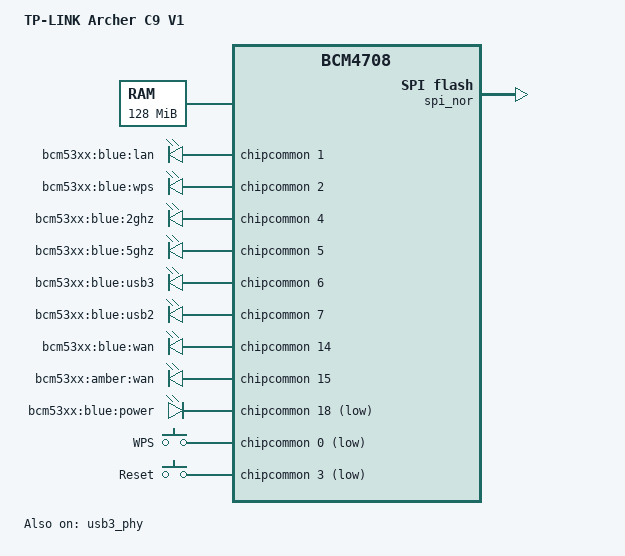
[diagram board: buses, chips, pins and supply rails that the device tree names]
// SPDX-License-Identifier: GPL-2.0-or-later OR MIT
/*
 * Copyright (C) 2016 Rafał Miłecki <rafal@milecki.pl>
 */

/dts-v1/;

#include "bcm4709.dtsi"

/ {
	compatible = "tplink,archer-c9-v1", "brcm,bcm4709", "brcm,bcm4708";
	model = "TP-LINK Archer C9 V1";

	chosen {
		bootargs = "console=ttyS0,115200 earlycon";
	};

	memory@0 {
		device_type = "memory";
		reg = <0x00000000 0x08000000>;
	};

	leds {
		compatible = "gpio-leds";

		lan {
			label = "bcm53xx:blue:lan";
			gpios = <&chipcommon 1 GPIO_ACTIVE_HIGH>;
		};

		wps {
			label = "bcm53xx:blue:wps";
			gpios = <&chipcommon 2 GPIO_ACTIVE_HIGH>;
		};

		2ghz {
			label = "bcm53xx:blue:2ghz";
			gpios = <&chipcommon 4 GPIO_ACTIVE_HIGH>;
		};

		5ghz {
			label = "bcm53xx:blue:5ghz";
			gpios = <&chipcommon 5 GPIO_ACTIVE_HIGH>;
		};

		usb3 {
			label = "bcm53xx:blue:usb3";
			gpios = <&chipcommon 6 GPIO_ACTIVE_HIGH>;
			trigger-sources = <&ohci_port1>, <&ehci_port1>,
					  <&xhci_port1>;
			linux,default-trigger = "usbport";
		};

		usb2 {
			label = "bcm53xx:blue:usb2";
			gpios = <&chipcommon 7 GPIO_ACTIVE_HIGH>;
			trigger-sources = <&ohci_port2>, <&ehci_port2>;
			linux,default-trigger = "usbport";
		};

		wan-blue {
			label = "bcm53xx:blue:wan";
			gpios = <&chipcommon 14 GPIO_ACTIVE_HIGH>;
		};

		wan-amber {
			label = "bcm53xx:amber:wan";
			gpios = <&chipcommon 15 GPIO_ACTIVE_HIGH>;
		};

		power {
			label = "bcm53xx:blue:power";
			gpios = <&chipcommon 18 GPIO_ACTIVE_LOW>;
			linux,default-trigger = "default-on";
		};
	};

	gpio-keys {
		compatible = "gpio-keys";
		#address-cells = <1>;
		#size-cells = <0>;

		wps {
			label = "WPS";
			linux,code = <KEY_WPS_BUTTON>;
			gpios = <&chipcommon 0 GPIO_ACTIVE_LOW>;
		};

		restart {
			label = "Reset";
			linux,code = <KEY_RESTART>;
			gpios = <&chipcommon 3 GPIO_ACTIVE_LOW>;
		};
	};
};

&usb2 {
	vcc-gpio = <&chipcommon 13 GPIO_ACTIVE_HIGH>;
};

&usb3 {
	vcc-gpio = <&chipcommon 12 GPIO_ACTIVE_HIGH>;
};

&spi_nor {
	status = "okay";

	partitions {
		compatible = "fixed-partitions";
		#address-cells = <1>;
		#size-cells = <1>;

		boot@0 {
			label = "boot";
			reg = <0x000000 0x040000>;
			read-only;
		};

		os-image@100000 {
			label = "os-image";
			reg = <0x040000 0x200000>;
			compatible = "brcm,trx";
		};

		rootfs@240000 {
			label = "rootfs";
			reg = <0x240000 0xc00000>;
		};

		nvram@ff0000 {
			label = "nvram";
			reg = <0xff0000 0x010000>;
		};
	};
};

&usb3_phy {
	status = "okay";
};
